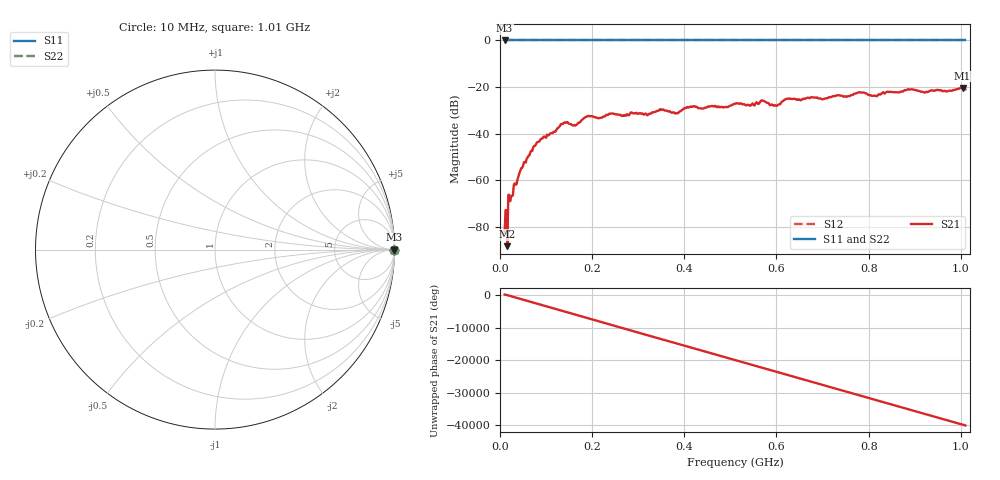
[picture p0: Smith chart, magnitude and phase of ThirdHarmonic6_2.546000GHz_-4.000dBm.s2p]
! 8/17/2025 5:10:17 AM
! C:\ANRITSUVNA\TEMP\TEMP.S2P
! CHANNEL.1
! TR.MEASUREMENT
! RAW.DATA
! RF.CORRECTION.OFF
! AVERAGING.OFF
! IF.BANDWIDTH: 5KHZ
! SWEEPTYPE:  FREQ.SWEEP(Linear)
! Reference Plane Port Info
! PORT:  PORT1  PORT2
! DISTANCE:  0  m  0  m
! TIME:  0  s  0  s
! PHASE.OFFSET:  0  deg.  0  deg.
! LOSS:  0  dB  0  dB
! REF.LOSS:  0  dB  0  dB
! REF.FREQ:  0  Hz  0  Hz
! Power Info
! POWER:  -20  dBm  -20  dBm
! EFF.POWER:  -20  dBm  -20  dBm
! SOURCE.ATTEN:  0  dB  0  dB
! TEST.ATTEN:  0  dB  0  dB
# GHZ S RI R 50.0
! FREQ.GHZ  S11RE  S11IM  S21RE  S21IM  S12RE  S12IM  S22RE  S22IM
!; PortSelection: Port_12
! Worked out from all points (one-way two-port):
!   501 points, 10 MHz to 1.01 GHz, reference 50 ohm
!   highest |S21| = -20.35 dB at 1.004 GHz (marker M1); lowest = -88.2 dB at 16 MHz (marker M2)
!   lowest |S11| = 0.0 dB at 10 MHz (marker M3)
!   |S11| at or under -10 dB: nowhere
!   |S22| runs from 0.0 to 0.0 dB; largest |S21 - S12| = 1.1
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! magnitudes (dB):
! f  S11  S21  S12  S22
! 10 MHz  0.0  -82.6  0.0  0.0
! 12 MHz  0.0  -72.8  0.0  0.0
! 16 MHz  0.0  -88.2  0.0  0.0
! 22 MHz  0.0  -69.0  0.0  0.0
! 48 MHz  0.0  -54.6  0.0  0.0
! 76 MHz  0.0  -45.2  0.0  0.0
! 136 MHz  0.0  -35.9  0.0  0.0
! 162 MHz  0.0  -36.2  0.0  0.0
! 178 MHz  0.0  -34.0  0.0  0.0
! 344 MHz  0.0  -30.1  0.0  0.0
! 382 MHz  0.0  -31.2  0.0  0.0
! 410 MHz  0.0  -28.8  0.0  0.0
! 510 MHz  0.0  -27.2  0.0  0.0
! 570 MHz  0.0  -25.8  0.0  0.0
! 598 MHz  0.0  -27.9  0.0  0.0
! 624 MHz  0.0  -25.0  0.0  0.0
! 678 MHz  0.0  -24.4  0.0  0.0
! 782 MHz  0.0  -22.2  0.0  0.0
! 814 MHz  0.0  -23.7  0.0  0.0
! 844 MHz  0.0  -22.1  0.0  0.0
! 1.004 GHz  0.0  -20.4  0.0  0.0
! 1.01 GHz  0.0  -21.0  0.0  0.0
